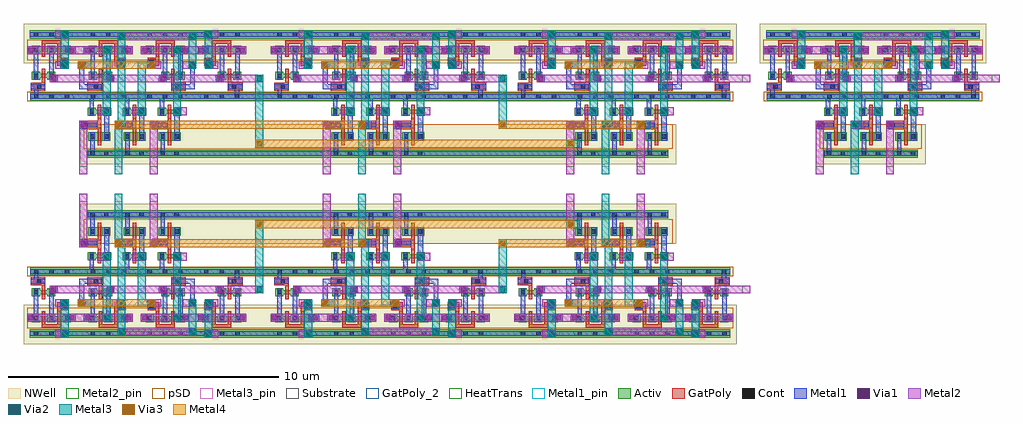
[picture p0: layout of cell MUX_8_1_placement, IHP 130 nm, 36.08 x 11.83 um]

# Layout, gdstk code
from math import pi, radians
import gdstk
lib = gdstk.Library(unit=1e-6, precision=5e-09)
def R(c, l, rs):  # rectangles x0, y0, x1, y1
    for r in rs: c.add(gdstk.rectangle(r[:2], r[2:], *l))
def A(c, l, x, y, w, h, nx, ny, dx, dy):  # array of equal rectangles
    R(c, l, [(x+i*dx, y+j*dy, x+i*dx+w, y+j*dy+h) for i in range(nx) for j in range(ny)])
Activ = (1, 0)
GatPoly = (5, 0)
GatPoly_2 = (5, 2)
Cont = (6, 0)
Metal1 = (8, 0)
Metal1_pin = (8, 2)
Metal2 = (10, 0)
Metal2_pin = (10, 2)
pSD = (14, 0)
Via1 = (19, 0)
Via2 = (29, 0)
Metal3 = (30, 0)
Metal3_pin = (30, 2)
NWell = (31, 0)
Substrate = (40, 0)
Via3 = (49, 0)
Metal4 = (50, 0)
HeatTrans = (51, 0)

nmos_1 = lib.new_cell('nmos$1')
R(nmos_1, Activ, [(0,0.025,0.3,0.325), (0.57,0.025,0.87,0.325), (0,0.1,0.87,0.25)])
R(nmos_1, GatPoly, [(0.37,-0.08,0.5,0.43)])
R(nmos_1, GatPoly_2, [(0.37,-0.08,0.5,0.43)])
R(nmos_1, Cont, [(0.07,0.095,0.23,0.255), (0.64,0.095,0.8,0.255)])
R(nmos_1, Metal1, [(0.07,0.045,0.23,0.305), (0.64,0.045,0.8,0.305)])
R(nmos_1, Metal1_pin, [(0.07,0.045,0.23,0.305), (0.64,0.045,0.8,0.305)])
R(nmos_1, HeatTrans, [(0.37,-0.08,0.5,0.43)])
nmos_1.add(gdstk.Label('nmos', (0.435,0.175), layer=63, texttype=0))
nmos_1.add(gdstk.Label('nmos', (0.435,0.175), layer=51, texttype=0))

pmos = lib.new_cell('pmos')
R(pmos, Activ, [(0,-0.04,0.3,0.26), (0.57,-0.04,0.87,0.26), (0,0.035,0.87,0.185)])
R(pmos, GatPoly, [(0.37,-0.145,0.5,0.365), (0.37,-0.145,0.5,0.365)])
R(pmos, Cont, [(0.07,0.03,0.23,0.19), (0.64,0.03,0.8,0.19)])
R(pmos, Metal1, [(0.07,-0.02,0.23,0.24), (0.07,-0.02,0.23,0.25), (0.64,-0.02,0.8,0.24), (0.64,-0.02,0.8,0.24)])
R(pmos, pSD, [(-0.18,-0.265,1.05,0.485)])
R(pmos, NWell, [(-0.31,-0.38,1.18,0.545)])
R(pmos, Substrate, [(0.57,-0.04,0.87,0.26)])
R(pmos, HeatTrans, [(0.37,-0.145,0.5,0.365)])
pmos.add(gdstk.Label('pmos', (0.435,0.11), layer=63, texttype=0))
pmos.add(gdstk.Label('pmos', (0.435,0.11), layer=51, texttype=0))

via1_constraint = lib.new_cell('Via1_constraint')
R(via1_constraint, Metal1, [(0,0,0.29,0.29)])
R(via1_constraint, Metal2, [(0,0,0.29,0.29)])
R(via1_constraint, Via1, [(0.05,0.05,0.24,0.24)])

tg_2c = lib.new_cell('TG_2C')
R(tg_2c, Activ, [(0.25,0.025,1.83,0.325), (0.24,2.32,1.82,2.62)])
R(tg_2c, GatPoly, [(1.38,1.31,1.68,1.61)])
R(tg_2c, GatPoly_2, [(0.26,0.395,0.81,0.695), (1.38,1.31,1.68,1.61)])
A(tg_2c, Cont, 0.39, 0.095, 0.16, 0.16, 3, 1, 0.57, 0)
A(tg_2c, Cont, 0.38, 2.39, 0.16, 0.16, 3, 1, 0.57, 0)
R(tg_2c, Cont, [(0.5,0.465,0.66,0.625), (1.45,1.38,1.61,1.54)])
R(tg_2c, Metal1, [(0.25,0.095,1.83,0.255), (0.26,0.455,0.8,0.635), (1.38,1.37,1.67,1.55), (0.42,1.75,0.54,2.04), (1.52,1.75,1.64,2.04), (0.24,2.39,1.82,2.55)])
R(tg_2c, Metal1_pin, [(0.25,0.095,1.83,0.255), (0.26,0.455,0.8,0.635), (0.95,0.865,1.11,1.02), (1.38,1.37,1.67,1.55), (0.24,2.39,1.82,2.55)])
R(tg_2c, pSD, [(0.14,-0.005,1.94,0.355)])
R(tg_2c, NWell, [(0,2.335,2.06,2.86)])
tg_2c.add(gdstk.FlexPath([(0.26,0.545),(0.81,0.545),(0.81,0.545)], 0.3, ends="flush", simple_path=True, layer=5, datatype=0))  # GatPoly
tg_2c.add(gdstk.FlexPath([(1.315,1.645),(1.315,1.34),(1.315,1.31)], 0.13, ends="flush", simple_path=True, layer=5, datatype=0))  # GatPoly
tg_2c.add(gdstk.FlexPath([(0.745,2.085),(0.745,2.185),(1.315,2.185),(1.315,2.085)], 0.13, ends="flush", simple_path=True, layer=5, datatype=0))  # GatPoly
tg_2c.add(gdstk.FlexPath([(0.46,2.03),(0.46,0.815)], 0.16, ends="flush", simple_path=True, layer=8, datatype=0))  # Metal1
tg_2c.add(gdstk.FlexPath([(1.03,2.03),(1.03,0.815)], 0.16, ends="flush", simple_path=True, layer=8, datatype=0))  # Metal1
tg_2c.add(gdstk.FlexPath([(0.31,1.895),(1.75,1.895),(1.75,1.895)], 0.29, ends="flush", simple_path=True, layer=10, datatype=0))  # Metal2
tg_2c.add(gdstk.Reference(nmos_1, (0.31,0.77)))
tg_2c.add(gdstk.Reference(pmos, (0.31,1.79)))
tg_2c.add(gdstk.Reference(pmos, (0.88,1.79)))
tg_2c.add(gdstk.Reference(via1_constraint, (1.64,1.75)))
tg_2c.add(gdstk.Reference(via1_constraint, (0.13,1.75)))
tg_2c.add(gdstk.Label('VCTRLP', (1.51,1.39), layer=8, texttype=25))
tg_2c.add(gdstk.Label('VSS', (0.33,0.155), layer=8, texttype=25))
tg_2c.add(gdstk.Label('VCTRLN', (0.495,0.51), layer=8, texttype=25))
tg_2c.add(gdstk.Label('VOUT', (1.065,0.91), layer=8, texttype=25))
tg_2c.add(gdstk.Label('VIN', (0.425,0.935), layer=8, texttype=25))
tg_2c.add(gdstk.Label('VDD', (0.33,2.45), layer=8, texttype=25))

nmos = lib.new_cell('nmos')
R(nmos, Activ, [(0,0,0.3,0.3), (0.57,0,0.87,0.3), (0,0.075,0.87,0.225)])
R(nmos, GatPoly, [(0.37,-0.105,0.5,0.405)])
R(nmos, GatPoly_2, [(0.37,-0.105,0.5,0.405)])
R(nmos, Cont, [(0.07,0.07,0.23,0.23), (0.64,0.07,0.8,0.23)])
R(nmos, Metal1, [(0.07,0.02,0.23,0.28), (0.64,0.02,0.8,0.28)])
R(nmos, Metal1_pin, [(0.07,0.02,0.23,0.28), (0.64,0.02,0.8,0.28)])
R(nmos, HeatTrans, [(0.37,-0.105,0.5,0.405)])
nmos.add(gdstk.Label('nmos', (0.435,0.15), layer=63, texttype=0))
nmos.add(gdstk.Label('nmos', (0.435,0.15), layer=51, texttype=0))

pmos_1 = lib.new_cell('pmos$1')
R(pmos_1, Activ, [(0,0,0.3,0.3), (0,0,0.81,0.3), (0.51,0,0.81,0.3)])
R(pmos_1, GatPoly, [(0.34,-0.18,0.47,0.48), (0.34,-0.18,0.47,0.48)])
R(pmos_1, Cont, [(0.07,0.07,0.23,0.23), (0.58,0.07,0.74,0.23)])
R(pmos_1, Metal1, [(0.07,0,0.23,0.3), (0.07,0,0.23,0.3), (0.58,0,0.74,0.3), (0.58,0,0.74,0.3)])
R(pmos_1, pSD, [(-0.18,-0.3,0.99,0.6)])
R(pmos_1, NWell, [(-0.31,-0.31,1.12,0.61)])
R(pmos_1, Substrate, [(0.51,0,0.81,0.3)])
R(pmos_1, HeatTrans, [(0.34,-0.18,0.47,0.48)])
pmos_1.add(gdstk.Label('pmos', (0.405,0.15), layer=63, texttype=0))
pmos_1.add(gdstk.Label('pmos', (0.405,0.15), layer=51, texttype=0))

inv_d1 = lib.new_cell('INV_D1')
R(inv_d1, Activ, [(0.28,0.03,1.15,0.33), (0.28,2.135,1.15,2.435)])
R(inv_d1, GatPoly, [(0.06,1.08,0.65,1.38), (0.65,1.11,0.78,1.325)])
R(inv_d1, GatPoly_2, [(0.06,1.08,0.65,1.38)])
R(inv_d1, Cont, [(0.13,1.15,0.29,1.31), (0.38,2.205,0.54,2.365), (0.89,2.205,1.05,2.365)])
R(inv_d1, Metal1, [(0.28,0.1,1.15,0.26), (0.07,1.14,0.64,1.32), (0.28,2.205,1.15,2.365)])
R(inv_d1, Metal1_pin, [(0.28,0.1,1.15,0.26), (0.07,1.14,0.64,1.32), (0.89,1.14,1.08,1.32), (0.28,2.205,1.15,2.365)])
R(inv_d1, pSD, [(0.15,0,1.28,0.36)])
R(inv_d1, NWell, [(0,2.115,1.43,2.675)])
R(inv_d1, Substrate, [(0.82,1.505,1.12,1.805)])
inv_d1.add(gdstk.FlexPath([(0.715,1.11),(0.715,0.99)], 0.13, ends="flush", simple_path=True, layer=5, datatype=0))  # GatPoly
inv_d1.add(gdstk.FlexPath([(0.46,1.805),(0.46,2.365)], 0.16, ends="flush", simple_path=True, layer=8, datatype=0))  # Metal1
inv_d1.add(gdstk.FlexPath([(0.985,0.585),(0.985,1.805)], 0.19, ends="flush", simple_path=True, layer=8, datatype=0))  # Metal1
inv_d1.add(gdstk.FlexPath([(0.43,0.865),(0.43,0.1)], 0.16, ends="flush", simple_path=True, layer=8, datatype=0))  # Metal1
inv_d1.add(gdstk.Reference(nmos, (0.28,0.585)))
inv_d1.add(gdstk.Reference(pmos_1, (0.31,1.505)))
inv_d1.add(gdstk.Label('nmos', (0.715,0.655), layer=63, texttype=0))
inv_d1.add(gdstk.Label('VIN', (0.285,1.175), layer=8, texttype=25))
inv_d1.add(gdstk.Label('VOUT', (1.03,1.165), layer=8, texttype=25))
inv_d1.add(gdstk.Label('VDD', (0.655,2.28), layer=8, texttype=25))
inv_d1.add(gdstk.Label('VSS', (0.65,0.175), layer=8, texttype=25))

mux_2_1_placement = lib.new_cell('MUX_2_1_placement')
r = gdstk.Reference(tg_2c, (8.365,2.31), rotation=pi, x_reflection=True); r.repetition = gdstk.Repetition(2, 1, v1=(-2.1,0), v2=(0,0)); mux_2_1_placement.add(r)
r = gdstk.Reference(tg_2c, (0,2.31)); r.repetition = gdstk.Repetition(2, 1, v1=(2.1,0), v2=(0,0)); mux_2_1_placement.add(r)
r = gdstk.Reference(inv_d1, (2.09,2.665), x_reflection=True); r.repetition = gdstk.Repetition(3, 1, v1=(1.3,0), v2=(0,0)); mux_2_1_placement.add(r)

via2_constraint = lib.new_cell('Via2_constraint')
R(via2_constraint, Metal2, [(0,0,0.29,0.29)])
R(via2_constraint, Via2, [(0.05,0.05,0.24,0.24)])
R(via2_constraint, Metal3, [(0,0,0.29,0.29)])

via3_constraint = lib.new_cell('Via3_constraint')
R(via3_constraint, Metal3, [(0,0,0.29,0.29)])
R(via3_constraint, Via3, [(0.05,0.05,0.24,0.24)])
R(via3_constraint, Metal4, [(0,0,0.29,0.29)])

mux_2_1_routed = lib.new_cell('MUX_2_1_routed')
R(mux_2_1_routed, Activ, [(2.73,0.615,6.2,0.915), (0.61,2.72,8.475,3.02), (0.6,5.015,8.485,5.315)])
R(mux_2_1_routed, Metal1, [(2.73,0.685,6.2,0.845), (0.61,2.79,8.475,2.95), (0.75,2.79,0.91,3.33), (8.175,2.79,8.335,3.33), (2.425,3.15,2.605,3.895), (2.425,3.15,2.72,3.33), (6.365,3.15,6.695,3.33), (6.515,3.15,6.695,3.895), (1.71,3.895,1.74,4.185), (3.81,3.895,3.84,4.185), (4.925,3.895,4.955,4.185), (7.345,3.895,7.375,4.185), (0.6,5.085,8.485,5.245)])
R(mux_2_1_routed, Metal2, [(2.425,0,2.715,1.975), (5.025,0,5.315,1.975), (4.015,1.685,4.225,1.975), (3.08,2.18,3.29,2.47), (4.38,2.18,4.59,2.47), (6.18,2.18,6.39,2.47), (1.33,3.395,3.72,3.685), (3.43,3.395,5.655,3.685), (5.365,3.395,7.755,3.685), (7.465,3.395,9.215,3.685), (1.53,3.895,1.74,4.185), (2.66,3.895,2.87,4.185), (3.63,3.895,3.84,4.185), (5.245,3.895,5.455,4.185), (6.25,3.895,6.46,4.185), (7.345,3.895,7.555,4.185), (2,4.445,2.88,4.735), (6.205,4.445,7.085,4.735), (3.84,4.945,6.75,5.235), (1.53,5.02,1.74,5.31), (7.345,5.02,7.555,5.31)])
R(mux_2_1_routed, Metal2_pin, [(2.425,0,2.715,0.29), (5.025,0,5.315,0.29), (8.925,3.395,9.215,3.685)])
R(mux_2_1_routed, pSD, [(2.58,0.945,6.35,1.845), (0.5,2.69,8.585,3.05), (0.49,4.22,8.595,4.97)])
R(mux_2_1_routed, Metal3, [(3.725,0,4.015,1.975), (3.725,1.685,4.13,1.975), (3.84,1.685,4.13,4.185), (3.29,2.18,3.58,4.735), (4.59,2.18,4.88,4.185), (5.89,2.18,6.18,4.735), (1.74,3.895,2.03,5.31), (2.66,3.895,2.87,4.185), (3.84,3.895,4.13,5.235), (4.59,3.895,5.245,4.185), (6.46,3.895,6.75,5.235), (7.055,3.895,7.345,5.31)])
R(mux_2_1_routed, Metal3_pin, [(3.725,0,4.015,0.29)])
R(mux_2_1_routed, NWell, [(0.36,4.105,8.725,5.555)])
R(mux_2_1_routed, Metal4, [(2.37,3.895,5.245,4.185)])
mux_2_1_routed.add(gdstk.Reference(mux_2_1_placement, (0.36,0.385)))
r = gdstk.Reference(via1_constraint, (1.33,3.395)); r.repetition = gdstk.Repetition(1, 1, v1=(0,0), v2=(0,0)); mux_2_1_routed.add(r)
r = gdstk.Reference(via1_constraint, (3.43,3.395)); r.repetition = gdstk.Repetition(1, 1, v1=(0,0), v2=(0,0)); mux_2_1_routed.add(r)
r = gdstk.Reference(via1_constraint, (1.74,3.895)); r.repetition = gdstk.Repetition(1, 1, v1=(0,0), v2=(0,0)); mux_2_1_routed.add(r)
r = gdstk.Reference(via1_constraint, (5.365,3.395)); r.repetition = gdstk.Repetition(1, 1, v1=(0,0), v2=(0,0)); mux_2_1_routed.add(r)
r = gdstk.Reference(via1_constraint, (7.465,3.395)); r.repetition = gdstk.Repetition(1, 1, v1=(0,0), v2=(0,0)); mux_2_1_routed.add(r)
r = gdstk.Reference(via2_constraint, (1.74,3.895)); r.repetition = gdstk.Repetition(1, 1, v1=(0,0), v2=(0,0)); mux_2_1_routed.add(r)
r = gdstk.Reference(via2_constraint, (1.74,5.02)); r.repetition = gdstk.Repetition(1, 1, v1=(0,0), v2=(0,0)); mux_2_1_routed.add(r)
r = gdstk.Reference(via1_constraint, (1.74,5.02)); r.repetition = gdstk.Repetition(1, 1, v1=(0,0), v2=(0,0)); mux_2_1_routed.add(r)
r = gdstk.Reference(via1_constraint, (7.055,3.895)); r.repetition = gdstk.Repetition(1, 1, v1=(0,0), v2=(0,0)); mux_2_1_routed.add(r)
r = gdstk.Reference(via2_constraint, (7.055,3.895)); r.repetition = gdstk.Repetition(1, 1, v1=(0,0), v2=(0,0)); mux_2_1_routed.add(r)
r = gdstk.Reference(via2_constraint, (7.055,5.02)); r.repetition = gdstk.Repetition(1, 1, v1=(0,0), v2=(0,0)); mux_2_1_routed.add(r)
r = gdstk.Reference(via1_constraint, (7.055,5.02)); r.repetition = gdstk.Repetition(1, 1, v1=(0,0), v2=(0,0)); mux_2_1_routed.add(r)
r = gdstk.Reference(via1_constraint, (3.84,3.895)); r.repetition = gdstk.Repetition(1, 1, v1=(0,0), v2=(0,0)); mux_2_1_routed.add(r)
r = gdstk.Reference(via1_constraint, (6.46,3.895)); r.repetition = gdstk.Repetition(1, 1, v1=(0,0), v2=(0,0)); mux_2_1_routed.add(r)
r = gdstk.Reference(via2_constraint, (3.84,3.895)); r.repetition = gdstk.Repetition(1, 1, v1=(0,0), v2=(0,0)); mux_2_1_routed.add(r)
r = gdstk.Reference(via2_constraint, (6.46,3.895)); r.repetition = gdstk.Repetition(1, 1, v1=(0,0), v2=(0,0)); mux_2_1_routed.add(r)
r = gdstk.Reference(via2_constraint, (3.84,4.945)); r.repetition = gdstk.Repetition(1, 1, v1=(0,0), v2=(0,0)); mux_2_1_routed.add(r)
r = gdstk.Reference(via2_constraint, (6.46,4.945)); r.repetition = gdstk.Repetition(1, 1, v1=(0,0), v2=(0,0)); mux_2_1_routed.add(r)
r = gdstk.Reference(via1_constraint, (4.955,3.895)); r.repetition = gdstk.Repetition(1, 1, v1=(0,0), v2=(0,0)); mux_2_1_routed.add(r)
r = gdstk.Reference(via1_constraint, (2.37,3.895)); r.repetition = gdstk.Repetition(1, 1, v1=(0,0), v2=(0,0)); mux_2_1_routed.add(r)
r = gdstk.Reference(via2_constraint, (2.37,3.895)); r.repetition = gdstk.Repetition(1, 1, v1=(0,0), v2=(0,0)); mux_2_1_routed.add(r)
r = gdstk.Reference(via2_constraint, (4.955,3.895)); r.repetition = gdstk.Repetition(1, 1, v1=(0,0), v2=(0,0)); mux_2_1_routed.add(r)
r = gdstk.Reference(via3_constraint, (4.955,3.895)); r.repetition = gdstk.Repetition(1, 1, v1=(0,0), v2=(0,0)); mux_2_1_routed.add(r)
r = gdstk.Reference(via3_constraint, (2.37,3.895)); r.repetition = gdstk.Repetition(1, 1, v1=(0,0), v2=(0,0)); mux_2_1_routed.add(r)
r = gdstk.Reference(via1_constraint, (3.29,2.18)); r.repetition = gdstk.Repetition(1, 1, v1=(0,0), v2=(0,0)); mux_2_1_routed.add(r)
r = gdstk.Reference(via2_constraint, (3.29,2.18)); r.repetition = gdstk.Repetition(1, 1, v1=(0,0), v2=(0,0)); mux_2_1_routed.add(r)
r = gdstk.Reference(via2_constraint, (3.29,4.445)); r.repetition = gdstk.Repetition(1, 1, v1=(0,0), v2=(0,0)); mux_2_1_routed.add(r)
r = gdstk.Reference(via1_constraint, (5.89,2.18)); r.repetition = gdstk.Repetition(1, 1, v1=(0,0), v2=(0,0)); mux_2_1_routed.add(r)
r = gdstk.Reference(via2_constraint, (5.89,2.18)); r.repetition = gdstk.Repetition(1, 1, v1=(0,0), v2=(0,0)); mux_2_1_routed.add(r)
r = gdstk.Reference(via2_constraint, (5.89,4.445)); r.repetition = gdstk.Repetition(1, 1, v1=(0,0), v2=(0,0)); mux_2_1_routed.add(r)
r = gdstk.Reference(via1_constraint, (4.59,2.18)); r.repetition = gdstk.Repetition(1, 1, v1=(0,0), v2=(0,0)); mux_2_1_routed.add(r)
r = gdstk.Reference(via2_constraint, (4.59,2.18)); r.repetition = gdstk.Repetition(1, 1, v1=(0,0), v2=(0,0)); mux_2_1_routed.add(r)
r = gdstk.Reference(via2_constraint, (3.725,1.685)); r.repetition = gdstk.Repetition(1, 1, v1=(0,0), v2=(0,0)); mux_2_1_routed.add(r)
r = gdstk.Reference(via1_constraint, (3.725,1.685)); r.repetition = gdstk.Repetition(1, 1, v1=(0,0), v2=(0,0)); mux_2_1_routed.add(r)
r = gdstk.Reference(via1_constraint, (2.425,1.685)); r.repetition = gdstk.Repetition(1, 1, v1=(0,0), v2=(0,0)); mux_2_1_routed.add(r)
r = gdstk.Reference(via1_constraint, (5.025,1.685)); r.repetition = gdstk.Repetition(1, 1, v1=(0,0), v2=(0,0)); mux_2_1_routed.add(r)
mux_2_1_routed.add(gdstk.Label('VDD', (1.025,5.155), layer=8, texttype=25))
mux_2_1_routed.add(gdstk.Label('VSS', (1.055,2.845), layer=8, texttype=25))
mux_2_1_routed.add(gdstk.Label('VOUT', (9.06,3.545), layer=10, texttype=25))
mux_2_1_routed.add(gdstk.Label('VINA', (2.54,0.155), layer=10, texttype=25))
mux_2_1_routed.add(gdstk.Label('VINB', (5.135,0.155), layer=10, texttype=25))
mux_2_1_routed.add(gdstk.Label('VS', (3.845,0.13), layer=30, texttype=25))

mux_2_1 = lib.new_cell('MUX_2_1')
r = gdstk.Reference(mux_2_1_routed, (0,0)); r.repetition = gdstk.Repetition(1, 1, v1=(0,0), v2=(0,0)); mux_2_1.add(r)
mux_2_1.add(gdstk.Label('VS', (3.845,0.19), layer=30, texttype=25))

mux_4_1_placement = lib.new_cell('MUX_4_1_placement')
r = gdstk.Reference(mux_2_1, (-0.36,0)); r.repetition = gdstk.Repetition(3, 1, v1=(9,0), v2=(0,0)); mux_4_1_placement.add(r)

via3_constraint_1 = lib.new_cell('Via3_constraint$1')
R(via3_constraint_1, Metal3, [(0,0,0.29,0.29)])
R(via3_constraint_1, Via3, [(0.05,0.05,0.24,0.24)])
R(via3_constraint_1, Metal4, [(0,0,0.29,0.29)])

via2_constraint_1 = lib.new_cell('Via2_constraint$1')
R(via2_constraint_1, Metal2, [(0,0,0.29,0.29)])
R(via2_constraint_1, Via2, [(0.05,0.05,0.24,0.24)])
R(via2_constraint_1, Metal3, [(0,0,0.29,0.29)])

mux_4_1_routed = lib.new_cell('MUX_4_1_routed')
R(mux_4_1_routed, Activ, [(2.37,0.615,23.84,0.915), (0.25,2.72,26.115,3.02), (0.24,5.015,26.125,5.315)])
R(mux_4_1_routed, Metal1, [(2.37,0.685,23.84,0.845), (0.25,2.79,26.115,2.95), (0.24,5.085,26.125,5.245)])
R(mux_4_1_routed, pSD, [(2.22,0.945,23.99,1.845), (0.14,2.69,26.225,3.05), (0.13,4.22,26.235,4.97)])
R(mux_4_1_routed, Metal3, [(8.565,0.98,8.855,3.685), (20.355,0.98,20.565,1.27), (17.565,1.685,17.855,3.685), (22.955,1.685,23.165,1.975)])
R(mux_4_1_routed, NWell, [(2.09,0.375,24.12,1.855), (0,4.105,26.365,5.555)])
R(mux_4_1_routed, Metal4, [(8.565,0.98,20.355,1.27), (3.365,1.685,12.655,1.975), (17.565,1.685,22.955,1.975)])
mux_4_1_routed.add(gdstk.Reference(mux_4_1_placement, (0,0)))
r = gdstk.Reference(via3_constraint_1, (3.365,1.685)); r.repetition = gdstk.Repetition(1, 1, v1=(0,0), v2=(0,0)); mux_4_1_routed.add(r)
r = gdstk.Reference(via3_constraint_1, (12.365,1.685)); r.repetition = gdstk.Repetition(1, 1, v1=(0,0), v2=(0,0)); mux_4_1_routed.add(r)
r = gdstk.Reference(via2_constraint_1, (17.565,3.395)); r.repetition = gdstk.Repetition(1, 1, v1=(0,0), v2=(0,0)); mux_4_1_routed.add(r)
r = gdstk.Reference(via3_constraint_1, (22.665,1.685)); r.repetition = gdstk.Repetition(1, 1, v1=(0,0), v2=(0,0)); mux_4_1_routed.add(r)
r = gdstk.Reference(via2_constraint_1, (22.665,1.685)); r.repetition = gdstk.Repetition(1, 1, v1=(0,0), v2=(0,0)); mux_4_1_routed.add(r)
r = gdstk.Reference(via3_constraint_1, (17.565,1.685)); r.repetition = gdstk.Repetition(1, 1, v1=(0,0), v2=(0,0)); mux_4_1_routed.add(r)
r = gdstk.Reference(via2_constraint_1, (8.565,3.395)); r.repetition = gdstk.Repetition(1, 1, v1=(0,0), v2=(0,0)); mux_4_1_routed.add(r)
r = gdstk.Reference(via3_constraint_1, (20.065,0.98)); r.repetition = gdstk.Repetition(1, 1, v1=(0,0), v2=(0,0)); mux_4_1_routed.add(r)
r = gdstk.Reference(via2_constraint_1, (20.065,0.98)); r.repetition = gdstk.Repetition(1, 1, v1=(0,0), v2=(0,0)); mux_4_1_routed.add(r)
r = gdstk.Reference(via3_constraint_1, (8.565,0.98)); r.repetition = gdstk.Repetition(1, 1, v1=(0,0), v2=(0,0)); mux_4_1_routed.add(r)
mux_4_1_routed.add(gdstk.Label('VDD', (1.925,5.155), layer=8, texttype=25))
mux_4_1_routed.add(gdstk.Label('VSS', (1.26,2.86), layer=8, texttype=25))
mux_4_1_routed.add(gdstk.Label('VOUT', (26.705,3.455), layer=10, texttype=25))
mux_4_1_routed.add(gdstk.Label('VINA', (2.17,0.085), layer=10, texttype=25))
mux_4_1_routed.add(gdstk.Label('VINB', (4.755,0.07), layer=10, texttype=25))
mux_4_1_routed.add(gdstk.Label('VINC', (11.18,0.085), layer=10, texttype=25))
mux_4_1_routed.add(gdstk.Label('VIND', (13.8,0.065), layer=10, texttype=25))
mux_4_1_routed.add(gdstk.Label('VS[1]', (21.485,0.09), layer=30, texttype=25))
mux_4_1_routed.add(gdstk.Label('VS[0]', (3.485,0.085), layer=30, texttype=25))

mux_4_1 = lib.new_cell('MUX_4_1')
r = gdstk.Reference(mux_4_1_routed, (0,0)); r.repetition = gdstk.Repetition(1, 1, v1=(0,0), v2=(0,0)); mux_4_1.add(r)

nmos_1_1 = lib.new_cell('nmos$1$1')
R(nmos_1_1, Activ, [(0,0.025,0.3,0.325), (0.57,0.025,0.87,0.325), (0,0.1,0.87,0.25)])
R(nmos_1_1, GatPoly, [(0.37,-0.08,0.5,0.43)])
R(nmos_1_1, GatPoly_2, [(0.37,-0.08,0.5,0.43)])
R(nmos_1_1, Cont, [(0.07,0.095,0.23,0.255), (0.64,0.095,0.8,0.255)])
R(nmos_1_1, Metal1, [(0.07,0.045,0.23,0.305), (0.64,0.045,0.8,0.305)])
R(nmos_1_1, Metal1_pin, [(0.07,0.045,0.23,0.305), (0.64,0.045,0.8,0.305)])
R(nmos_1_1, HeatTrans, [(0.37,-0.08,0.5,0.43)])
nmos_1_1.add(gdstk.Label('nmos', (0.435,0.175), layer=63, texttype=0))
nmos_1_1.add(gdstk.Label('nmos', (0.435,0.175), layer=51, texttype=0))

pmos_2 = lib.new_cell('pmos$2')
R(pmos_2, Activ, [(0,-0.04,0.3,0.26), (0.57,-0.04,0.87,0.26), (0,0.035,0.87,0.185)])
R(pmos_2, GatPoly, [(0.37,-0.145,0.5,0.365), (0.37,-0.145,0.5,0.365)])
R(pmos_2, Cont, [(0.07,0.03,0.23,0.19), (0.64,0.03,0.8,0.19)])
R(pmos_2, Metal1, [(0.07,-0.02,0.23,0.24), (0.07,-0.02,0.23,0.25), (0.64,-0.02,0.8,0.24), (0.64,-0.02,0.8,0.24)])
R(pmos_2, pSD, [(-0.18,-0.265,1.05,0.485)])
R(pmos_2, NWell, [(-0.31,-0.38,1.18,0.545)])
R(pmos_2, Substrate, [(0.57,-0.04,0.87,0.26)])
R(pmos_2, HeatTrans, [(0.37,-0.145,0.5,0.365)])
pmos_2.add(gdstk.Label('pmos', (0.435,0.11), layer=63, texttype=0))
pmos_2.add(gdstk.Label('pmos', (0.435,0.11), layer=51, texttype=0))

via1_constraint_1 = lib.new_cell('Via1_constraint$1')
R(via1_constraint_1, Metal1, [(0,0,0.29,0.29)])
R(via1_constraint_1, Metal2, [(0,0,0.29,0.29)])
R(via1_constraint_1, Via1, [(0.05,0.05,0.24,0.24)])

tg_2c_1 = lib.new_cell('TG_2C$1')
R(tg_2c_1, Activ, [(0.25,0.025,1.83,0.325), (0.24,2.32,1.82,2.62)])
R(tg_2c_1, GatPoly, [(1.38,1.31,1.68,1.61)])
R(tg_2c_1, GatPoly_2, [(0.26,0.395,0.81,0.695), (1.38,1.31,1.68,1.61)])
A(tg_2c_1, Cont, 0.39, 0.095, 0.16, 0.16, 3, 1, 0.57, 0)
A(tg_2c_1, Cont, 0.38, 2.39, 0.16, 0.16, 3, 1, 0.57, 0)
R(tg_2c_1, Cont, [(0.5,0.465,0.66,0.625), (1.45,1.38,1.61,1.54)])
R(tg_2c_1, Metal1, [(0.25,0.095,1.83,0.255), (0.26,0.455,0.8,0.635), (1.38,1.37,1.67,1.55), (0.42,1.75,0.54,2.04), (1.52,1.75,1.64,2.04), (0.24,2.39,1.82,2.55)])
R(tg_2c_1, Metal1_pin, [(0.25,0.095,1.83,0.255), (0.26,0.455,0.8,0.635), (0.95,0.865,1.11,1.02), (1.38,1.37,1.67,1.55), (0.24,2.39,1.82,2.55)])
R(tg_2c_1, pSD, [(0.14,-0.005,1.94,0.355)])
R(tg_2c_1, NWell, [(0,2.335,2.06,2.86)])
tg_2c_1.add(gdstk.FlexPath([(0.26,0.545),(0.81,0.545),(0.81,0.545)], 0.3, ends="flush", simple_path=True, layer=5, datatype=0))  # GatPoly
tg_2c_1.add(gdstk.FlexPath([(1.315,1.645),(1.315,1.34),(1.315,1.31)], 0.13, ends="flush", simple_path=True, layer=5, datatype=0))  # GatPoly
tg_2c_1.add(gdstk.FlexPath([(0.745,2.085),(0.745,2.185),(1.315,2.185),(1.315,2.085)], 0.13, ends="flush", simple_path=True, layer=5, datatype=0))  # GatPoly
tg_2c_1.add(gdstk.FlexPath([(0.46,2.03),(0.46,0.815)], 0.16, ends="flush", simple_path=True, layer=8, datatype=0))  # Metal1
tg_2c_1.add(gdstk.FlexPath([(1.03,2.03),(1.03,0.815)], 0.16, ends="flush", simple_path=True, layer=8, datatype=0))  # Metal1
tg_2c_1.add(gdstk.FlexPath([(0.31,1.895),(1.75,1.895),(1.75,1.895)], 0.29, ends="flush", simple_path=True, layer=10, datatype=0))  # Metal2
tg_2c_1.add(gdstk.Reference(nmos_1_1, (0.31,0.77)))
tg_2c_1.add(gdstk.Reference(pmos_2, (0.31,1.79)))
tg_2c_1.add(gdstk.Reference(pmos_2, (0.88,1.79)))
tg_2c_1.add(gdstk.Reference(via1_constraint_1, (1.64,1.75)))
tg_2c_1.add(gdstk.Reference(via1_constraint_1, (0.13,1.75)))
tg_2c_1.add(gdstk.Label('VCTRLP', (1.51,1.39), layer=8, texttype=25))
tg_2c_1.add(gdstk.Label('VSS', (0.33,0.155), layer=8, texttype=25))
tg_2c_1.add(gdstk.Label('VCTRLN', (0.495,0.51), layer=8, texttype=25))
tg_2c_1.add(gdstk.Label('VOUT', (1.065,0.91), layer=8, texttype=25))
tg_2c_1.add(gdstk.Label('VIN', (0.425,0.935), layer=8, texttype=25))
tg_2c_1.add(gdstk.Label('VDD', (0.33,2.45), layer=8, texttype=25))

nmos_2 = lib.new_cell('nmos$2')
R(nmos_2, Activ, [(0,0,0.3,0.3), (0.57,0,0.87,0.3), (0,0.075,0.87,0.225)])
R(nmos_2, GatPoly, [(0.37,-0.105,0.5,0.405)])
R(nmos_2, GatPoly_2, [(0.37,-0.105,0.5,0.405)])
R(nmos_2, Cont, [(0.07,0.07,0.23,0.23), (0.64,0.07,0.8,0.23)])
R(nmos_2, Metal1, [(0.07,0.02,0.23,0.28), (0.64,0.02,0.8,0.28)])
R(nmos_2, Metal1_pin, [(0.07,0.02,0.23,0.28), (0.64,0.02,0.8,0.28)])
R(nmos_2, HeatTrans, [(0.37,-0.105,0.5,0.405)])
nmos_2.add(gdstk.Label('nmos', (0.435,0.15), layer=63, texttype=0))
nmos_2.add(gdstk.Label('nmos', (0.435,0.15), layer=51, texttype=0))

pmos_1_1 = lib.new_cell('pmos$1$1')
R(pmos_1_1, Activ, [(0,0,0.3,0.3), (0,0,0.81,0.3), (0.51,0,0.81,0.3)])
R(pmos_1_1, GatPoly, [(0.34,-0.18,0.47,0.48), (0.34,-0.18,0.47,0.48)])
R(pmos_1_1, Cont, [(0.07,0.07,0.23,0.23), (0.58,0.07,0.74,0.23)])
R(pmos_1_1, Metal1, [(0.07,0,0.23,0.3), (0.07,0,0.23,0.3), (0.58,0,0.74,0.3), (0.58,0,0.74,0.3)])
R(pmos_1_1, pSD, [(-0.18,-0.3,0.99,0.6)])
R(pmos_1_1, NWell, [(-0.31,-0.31,1.12,0.61)])
R(pmos_1_1, Substrate, [(0.51,0,0.81,0.3)])
R(pmos_1_1, HeatTrans, [(0.34,-0.18,0.47,0.48)])
pmos_1_1.add(gdstk.Label('pmos', (0.405,0.15), layer=63, texttype=0))
pmos_1_1.add(gdstk.Label('pmos', (0.405,0.15), layer=51, texttype=0))

inv_d1_1 = lib.new_cell('INV_D1$1')
R(inv_d1_1, Activ, [(0.28,0.03,1.15,0.33), (0.28,2.135,1.15,2.435)])
R(inv_d1_1, GatPoly, [(0.06,1.08,0.65,1.38), (0.65,1.11,0.78,1.325)])
R(inv_d1_1, GatPoly_2, [(0.06,1.08,0.65,1.38)])
R(inv_d1_1, Cont, [(0.13,1.15,0.29,1.31), (0.38,2.205,0.54,2.365), (0.89,2.205,1.05,2.365)])
R(inv_d1_1, Metal1, [(0.28,0.1,1.15,0.26), (0.07,1.14,0.64,1.32), (0.28,2.205,1.15,2.365)])
R(inv_d1_1, Metal1_pin, [(0.28,0.1,1.15,0.26), (0.07,1.14,0.64,1.32), (0.89,1.14,1.08,1.32), (0.28,2.205,1.15,2.365)])
R(inv_d1_1, pSD, [(0.15,0,1.28,0.36)])
R(inv_d1_1, NWell, [(0,2.115,1.43,2.675)])
R(inv_d1_1, Substrate, [(0.82,1.505,1.12,1.805)])
inv_d1_1.add(gdstk.FlexPath([(0.715,1.11),(0.715,0.99)], 0.13, ends="flush", simple_path=True, layer=5, datatype=0))  # GatPoly
inv_d1_1.add(gdstk.FlexPath([(0.46,1.805),(0.46,2.365)], 0.16, ends="flush", simple_path=True, layer=8, datatype=0))  # Metal1
inv_d1_1.add(gdstk.FlexPath([(0.985,0.585),(0.985,1.805)], 0.19, ends="flush", simple_path=True, layer=8, datatype=0))  # Metal1
inv_d1_1.add(gdstk.FlexPath([(0.43,0.865),(0.43,0.1)], 0.16, ends="flush", simple_path=True, layer=8, datatype=0))  # Metal1
inv_d1_1.add(gdstk.Reference(nmos_2, (0.28,0.585)))
inv_d1_1.add(gdstk.Reference(pmos_1_1, (0.31,1.505)))
inv_d1_1.add(gdstk.Label('nmos', (0.715,0.655), layer=63, texttype=0))
inv_d1_1.add(gdstk.Label('VIN', (0.285,1.175), layer=8, texttype=25))
inv_d1_1.add(gdstk.Label('VOUT', (1.03,1.165), layer=8, texttype=25))
inv_d1_1.add(gdstk.Label('VDD', (0.655,2.28), layer=8, texttype=25))
inv_d1_1.add(gdstk.Label('VSS', (0.65,0.175), layer=8, texttype=25))

mux_2_1_placement_1 = lib.new_cell('MUX_2_1_placement$1')
r = gdstk.Reference(tg_2c_1, (8.365,2.31), rotation=pi, x_reflection=True); r.repetition = gdstk.Repetition(2, 1, v1=(-2.1,0), v2=(0,0)); mux_2_1_placement_1.add(r)
r = gdstk.Reference(tg_2c_1, (0,2.31)); r.repetition = gdstk.Repetition(2, 1, v1=(2.1,0), v2=(0,0)); mux_2_1_placement_1.add(r)
r = gdstk.Reference(inv_d1_1, (2.09,2.665), x_reflection=True); r.repetition = gdstk.Repetition(3, 1, v1=(1.3,0), v2=(0,0)); mux_2_1_placement_1.add(r)

via2_constraint_2 = lib.new_cell('Via2_constraint$2')
R(via2_constraint_2, Metal2, [(0,0,0.29,0.29)])
R(via2_constraint_2, Via2, [(0.05,0.05,0.24,0.24)])
R(via2_constraint_2, Metal3, [(0,0,0.29,0.29)])

via3_constraint_2 = lib.new_cell('Via3_constraint$2')
R(via3_constraint_2, Metal3, [(0,0,0.29,0.29)])
R(via3_constraint_2, Via3, [(0.05,0.05,0.24,0.24)])
R(via3_constraint_2, Metal4, [(0,0,0.29,0.29)])

mux_2_1_routed_1 = lib.new_cell('MUX_2_1_routed$1')
R(mux_2_1_routed_1, Activ, [(2.73,0.615,6.2,0.915), (0.61,2.72,8.475,3.02), (0.6,5.015,8.485,5.315)])
R(mux_2_1_routed_1, Metal1, [(2.73,0.685,6.2,0.845), (0.61,2.79,8.475,2.95), (0.75,2.79,0.91,3.33), (8.175,2.79,8.335,3.33), (2.425,3.15,2.605,3.895), (2.425,3.15,2.72,3.33), (6.365,3.15,6.695,3.33), (6.515,3.15,6.695,3.895), (1.71,3.895,1.74,4.185), (3.81,3.895,3.84,4.185), (4.925,3.895,4.955,4.185), (7.345,3.895,7.375,4.185), (0.6,5.085,8.485,5.245)])
R(mux_2_1_routed_1, Metal2, [(2.425,0,2.715,1.975), (5.025,0,5.315,1.975), (4.015,1.685,4.225,1.975), (3.08,2.18,3.29,2.47), (4.38,2.18,4.59,2.47), (6.18,2.18,6.39,2.47), (1.33,3.395,3.72,3.685), (3.43,3.395,5.655,3.685), (5.365,3.395,7.755,3.685), (7.465,3.395,9.215,3.685), (1.53,3.895,1.74,4.185), (2.66,3.895,2.87,4.185), (3.63,3.895,3.84,4.185), (5.245,3.895,5.455,4.185), (6.25,3.895,6.46,4.185), (7.345,3.895,7.555,4.185), (2,4.445,2.88,4.735), (6.205,4.445,7.085,4.735), (3.835,4.945,6.75,5.235), (1.53,5.02,1.74,5.31), (7.345,5.02,7.555,5.31)])
R(mux_2_1_routed_1, Metal2_pin, [(2.425,0,2.715,0.29), (5.025,0,5.315,0.29), (8.925,3.395,9.215,3.685)])
R(mux_2_1_routed_1, pSD, [(2.58,0.945,6.35,1.845), (0.5,2.69,8.585,3.05), (0.49,4.22,8.595,4.97)])
R(mux_2_1_routed_1, Metal3, [(3.725,0,4.015,1.975), (3.725,1.685,4.13,1.975), (3.84,1.685,4.13,4.185), (3.29,2.18,3.58,4.735), (4.59,2.18,4.88,4.185), (5.89,2.18,6.18,4.735), (1.74,3.895,2.03,5.31), (2.66,3.895,2.87,4.185), (3.84,3.895,4.13,5.245), (4.59,3.895,5.245,4.185), (6.46,3.895,6.75,5.235), (7.055,3.895,7.345,5.31)])
R(mux_2_1_routed_1, Metal3_pin, [(3.725,0,4.015,0.29)])
R(mux_2_1_routed_1, NWell, [(0.36,4.105,8.725,5.555)])
R(mux_2_1_routed_1, Metal4, [(2.37,3.895,5.245,4.185)])
mux_2_1_routed_1.add(gdstk.Reference(mux_2_1_placement_1, (0.36,0.385)))
r = gdstk.Reference(via1_constraint_1, (1.33,3.395)); r.repetition = gdstk.Repetition(1, 1, v1=(0,0), v2=(0,0)); mux_2_1_routed_1.add(r)
r = gdstk.Reference(via1_constraint_1, (3.43,3.395)); r.repetition = gdstk.Repetition(1, 1, v1=(0,0), v2=(0,0)); mux_2_1_routed_1.add(r)
r = gdstk.Reference(via1_constraint_1, (1.74,3.895)); r.repetition = gdstk.Repetition(1, 1, v1=(0,0), v2=(0,0)); mux_2_1_routed_1.add(r)
r = gdstk.Reference(via1_constraint_1, (5.365,3.395)); r.repetition = gdstk.Repetition(1, 1, v1=(0,0), v2=(0,0)); mux_2_1_routed_1.add(r)
r = gdstk.Reference(via1_constraint_1, (7.465,3.395)); r.repetition = gdstk.Repetition(1, 1, v1=(0,0), v2=(0,0)); mux_2_1_routed_1.add(r)
r = gdstk.Reference(via2_constraint_2, (1.74,3.895)); r.repetition = gdstk.Repetition(1, 1, v1=(0,0), v2=(0,0)); mux_2_1_routed_1.add(r)
r = gdstk.Reference(via2_constraint_2, (1.74,5.02)); r.repetition = gdstk.Repetition(1, 1, v1=(0,0), v2=(0,0)); mux_2_1_routed_1.add(r)
r = gdstk.Reference(via1_constraint_1, (1.74,5.02)); r.repetition = gdstk.Repetition(1, 1, v1=(0,0), v2=(0,0)); mux_2_1_routed_1.add(r)
r = gdstk.Reference(via1_constraint_1, (7.055,3.895)); r.repetition = gdstk.Repetition(1, 1, v1=(0,0), v2=(0,0)); mux_2_1_routed_1.add(r)
r = gdstk.Reference(via2_constraint_2, (7.055,3.895)); r.repetition = gdstk.Repetition(1, 1, v1=(0,0), v2=(0,0)); mux_2_1_routed_1.add(r)
r = gdstk.Reference(via2_constraint_2, (7.055,5.02)); r.repetition = gdstk.Repetition(1, 1, v1=(0,0), v2=(0,0)); mux_2_1_routed_1.add(r)
r = gdstk.Reference(via1_constraint_1, (7.055,5.02)); r.repetition = gdstk.Repetition(1, 1, v1=(0,0), v2=(0,0)); mux_2_1_routed_1.add(r)
r = gdstk.Reference(via1_constraint_1, (3.84,3.895)); r.repetition = gdstk.Repetition(1, 1, v1=(0,0), v2=(0,0)); mux_2_1_routed_1.add(r)
r = gdstk.Reference(via1_constraint_1, (6.46,3.895)); r.repetition = gdstk.Repetition(1, 1, v1=(0,0), v2=(0,0)); mux_2_1_routed_1.add(r)
r = gdstk.Reference(via2_constraint_2, (3.84,3.895)); r.repetition = gdstk.Repetition(1, 1, v1=(0,0), v2=(0,0)); mux_2_1_routed_1.add(r)
r = gdstk.Reference(via2_constraint_2, (6.46,3.895)); r.repetition = gdstk.Repetition(1, 1, v1=(0,0), v2=(0,0)); mux_2_1_routed_1.add(r)
r = gdstk.Reference(via2_constraint_2, (3.84,4.945)); r.repetition = gdstk.Repetition(1, 1, v1=(0,0), v2=(0,0)); mux_2_1_routed_1.add(r)
r = gdstk.Reference(via2_constraint_2, (6.46,4.945)); r.repetition = gdstk.Repetition(1, 1, v1=(0,0), v2=(0,0)); mux_2_1_routed_1.add(r)
r = gdstk.Reference(via1_constraint_1, (4.955,3.895)); r.repetition = gdstk.Repetition(1, 1, v1=(0,0), v2=(0,0)); mux_2_1_routed_1.add(r)
r = gdstk.Reference(via1_constraint_1, (2.37,3.895)); r.repetition = gdstk.Repetition(1, 1, v1=(0,0), v2=(0,0)); mux_2_1_routed_1.add(r)
r = gdstk.Reference(via2_constraint_2, (2.37,3.895)); r.repetition = gdstk.Repetition(1, 1, v1=(0,0), v2=(0,0)); mux_2_1_routed_1.add(r)
r = gdstk.Reference(via2_constraint_2, (4.955,3.895)); r.repetition = gdstk.Repetition(1, 1, v1=(0,0), v2=(0,0)); mux_2_1_routed_1.add(r)
r = gdstk.Reference(via3_constraint_2, (4.955,3.895)); r.repetition = gdstk.Repetition(1, 1, v1=(0,0), v2=(0,0)); mux_2_1_routed_1.add(r)
r = gdstk.Reference(via3_constraint_2, (2.37,3.895)); r.repetition = gdstk.Repetition(1, 1, v1=(0,0), v2=(0,0)); mux_2_1_routed_1.add(r)
r = gdstk.Reference(via1_constraint_1, (3.29,2.18)); r.repetition = gdstk.Repetition(1, 1, v1=(0,0), v2=(0,0)); mux_2_1_routed_1.add(r)
r = gdstk.Reference(via2_constraint_2, (3.29,2.18)); r.repetition = gdstk.Repetition(1, 1, v1=(0,0), v2=(0,0)); mux_2_1_routed_1.add(r)
r = gdstk.Reference(via2_constraint_2, (3.29,4.445)); r.repetition = gdstk.Repetition(1, 1, v1=(0,0), v2=(0,0)); mux_2_1_routed_1.add(r)
r = gdstk.Reference(via1_constraint_1, (5.89,2.18)); r.repetition = gdstk.Repetition(1, 1, v1=(0,0), v2=(0,0)); mux_2_1_routed_1.add(r)
r = gdstk.Reference(via2_constraint_2, (5.89,2.18)); r.repetition = gdstk.Repetition(1, 1, v1=(0,0), v2=(0,0)); mux_2_1_routed_1.add(r)
r = gdstk.Reference(via2_constraint_2, (5.89,4.445)); r.repetition = gdstk.Repetition(1, 1, v1=(0,0), v2=(0,0)); mux_2_1_routed_1.add(r)
r = gdstk.Reference(via1_constraint_1, (4.59,2.18)); r.repetition = gdstk.Repetition(1, 1, v1=(0,0), v2=(0,0)); mux_2_1_routed_1.add(r)
r = gdstk.Reference(via2_constraint_2, (4.59,2.18)); r.repetition = gdstk.Repetition(1, 1, v1=(0,0), v2=(0,0)); mux_2_1_routed_1.add(r)
r = gdstk.Reference(via2_constraint_2, (3.725,1.685)); r.repetition = gdstk.Repetition(1, 1, v1=(0,0), v2=(0,0)); mux_2_1_routed_1.add(r)
r = gdstk.Reference(via1_constraint_1, (3.725,1.685)); r.repetition = gdstk.Repetition(1, 1, v1=(0,0), v2=(0,0)); mux_2_1_routed_1.add(r)
r = gdstk.Reference(via1_constraint_1, (2.425,1.685)); r.repetition = gdstk.Repetition(1, 1, v1=(0,0), v2=(0,0)); mux_2_1_routed_1.add(r)
r = gdstk.Reference(via1_constraint_1, (5.025,1.685)); r.repetition = gdstk.Repetition(1, 1, v1=(0,0), v2=(0,0)); mux_2_1_routed_1.add(r)
mux_2_1_routed_1.add(gdstk.Label('VDD', (1.025,5.155), layer=8, texttype=25))
mux_2_1_routed_1.add(gdstk.Label('VSS', (1.055,2.845), layer=8, texttype=25))
mux_2_1_routed_1.add(gdstk.Label('VOUT', (9.06,3.545), layer=10, texttype=25))
mux_2_1_routed_1.add(gdstk.Label('VINA', (2.54,0.155), layer=10, texttype=25))
mux_2_1_routed_1.add(gdstk.Label('VINB', (5.135,0.155), layer=10, texttype=25))
mux_2_1_routed_1.add(gdstk.Label('VS', (3.845,0.13), layer=30, texttype=25))

mux_2_1_1 = lib.new_cell('MUX_2_1$1')
r = gdstk.Reference(mux_2_1_routed_1, (0,0)); r.repetition = gdstk.Repetition(1, 1, v1=(0,0), v2=(0,0)); mux_2_1_1.add(r)
mux_2_1_1.add(gdstk.Label('VS', (3.845,0.19), layer=30, texttype=25))

mux_8_1_placement = lib.new_cell('MUX_8_1_placement')
r = gdstk.Reference(mux_4_1, (0,6.04)); r.repetition = gdstk.Repetition(1, 1, v1=(0,0), v2=(0,0)); mux_8_1_placement.add(r)
r = gdstk.Reference(mux_4_1, (0,5.32), x_reflection=True); r.repetition = gdstk.Repetition(1, 1, v1=(0,0), v2=(0,0)); mux_8_1_placement.add(r)
r = gdstk.Reference(mux_2_1_1, (26.86,6.04)); r.repetition = gdstk.Repetition(1, 1, v1=(0,0), v2=(0,0)); mux_8_1_placement.add(r)

lib.write_gds('MUX_8_1_placement.gds')
